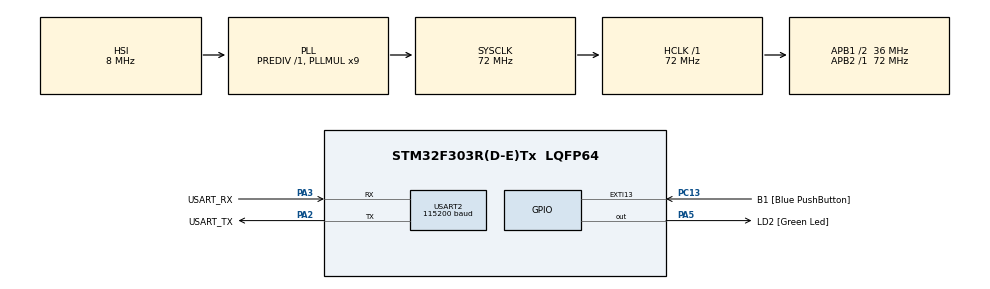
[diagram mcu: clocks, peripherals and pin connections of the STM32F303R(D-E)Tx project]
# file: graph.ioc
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Mcu.Family=STM32F3
Mcu.Name=STM32F303R(D-E)Tx
Mcu.Package=LQFP64
NVIC.PriorityGroup=NVIC_PRIORITYGROUP_0
PA13.GPIO_Label=TMS
PA13.Mode=Serial_Wire
PA13.Signal=SYS_JTMS-SWDIO
PA14.GPIO_Label=TCK
PA14.Mode=Serial_Wire
PA14.Signal=SYS_JTCK-SWCLK
PA2.GPIO_Label=USART_TX
PA2.GPIO_Mode=GPIO_MODE_AF_PP
PA2.GPIO_PuPd=GPIO_NOPULL
PA2.GPIO_Speed=GPIO_SPEED_FREQ_LOW
PA2.Mode=Asynchronous
PA2.Signal=USART2_TX
PA3.GPIO_Label=USART_RX
PA3.GPIO_Mode=GPIO_MODE_AF_PP
PA3.GPIO_PuPd=GPIO_NOPULL
PA3.GPIO_Speed=GPIO_SPEED_FREQ_LOW
PA3.Mode=Asynchronous
PA3.Signal=USART2_RX
PA5.GPIO_Label=LD2 [Green Led]
PA5.GPIO_Mode=GPIO_MODE_OUTPUT_PP
PA5.GPIO_PuPd=GPIO_NOPULL
PA5.GPIO_Speed=GPIO_SPEED_FREQ_LOW
PA5.Signal=GPIO_Output
PB3.GPIO_Label=SWO
PB3.Signal=SYS_JTDO-TRACESWO
PC13.GPIO_Label=B1 [Blue PushButton]
PC13.GPIO_ModeDefaultEXTI=GPIO_MODE_IT_FALLING
PC13.Signal=GPXTI13
PC14-OSC32_IN.Mode=LSE-External-Oscillator
PC14-OSC32_IN.Signal=RCC_OSC32_IN
PC15-OSC32_OUT.Mode=LSE-External-Oscillator
PC15-OSC32_OUT.Signal=RCC_OSC32_OUT
PF0-OSC_IN.Mode=HSE-External-Clock-Source
PF0-OSC_IN.Signal=RCC_OSC_IN
PF1-OSC_OUT.Signal=RCC_OSC_OUT
ProjectManager.HeapSize=0x200
ProjectManager.StackSize=0x400
ProjectManager.TargetToolchain=STM32CubeIDE
RCC.AHBFreq_Value=72000000
RCC.APB1CLKDivider=RCC_HCLK_DIV2
RCC.APB1Freq_Value=36000000
RCC.APB1TimFreq_Value=72000000
RCC.APB2Freq_Value=72000000
RCC.APB2TimFreq_Value=72000000
RCC.CortexFreq_Value=72000000
RCC.HCLKFreq_Value=72000000
RCC.HSE_VALUE=8000000
RCC.HSI_VALUE=8000000
RCC.PLLM=8
RCC.PLLMUL=RCC_PLL_MUL9
RCC.PLLN=336
RCC.PLLP=RCC_PLLP_DIV4
RCC.PLLQ=7
RCC.RCC_PLLsource_Clock_Source_FROM_HSE=RCC_HSE_PREDIV_DIV2
RCC.SYSCLKFreq_VALUE=72000000
RCC.SYSCLKSourceVirtual=RCC_SYSCLKSOURCE_PLLCLK
RCC.USBFreq_Value=72000000
USART2.BaudRate=115200
USART2.VirtualMode-Asynchronous=VM_ASYNC
board=NUCLEO-F303RE

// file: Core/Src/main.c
/* USER CODE BEGIN Header */
/**
  ******************************************************************************
  * @file           : main.c
  * @brief          : Main program body
  ******************************************************************************
  * @attention
  *
  * Copyright (c) 2025 STMicroelectronics.
  * All rights reserved.
  *
  * This software is licensed under terms that can be found in the LICENSE file
  * in the root directory of this software component.
  * If no LICENSE file comes with this software, it is provided AS-IS.
  *
  ******************************************************************************
  */
/* USER CODE END Header */
#include "main.h"

/* USER CODE BEGIN Includes */
#include <string.h>
#include <stdbool.h>
#include <stdint.h>
#include <stdio.h>
/* USER CODE END Includes */

UART_HandleTypeDef huart2;

void SystemClock_Config(void);
static void MX_GPIO_Init(void);
static void MX_USART2_UART_Init(void);
/* USER CODE BEGIN PFP */
void send_msg(char *msg);
/* USER CODE END PFP */

int main(void)
{

  /* MCU Configuration--------------------------------------------------------*/

  /* Reset of all peripherals, Initializes the Flash interface and the Systick. */
  HAL_Init();

  /* Configure the system clock */
  SystemClock_Config();

  /* Initialize all configured peripherals */
  MX_GPIO_Init();
  MX_USART2_UART_Init();
  /* USER CODE BEGIN 2 */
  send_msg("Cheking input voltage...!!! \r\n ");
  HAL_Delay(1000);
  send_msg("Efuse enable pin High. \r\n ");
  HAL_Delay(1000);
  send_msg("cheking efuse O/P voltage. \r\n ");
  HAL_Delay(1000);

  /* USER CODE END 2 */

  /* Infinite loop */
  while (1)
  {

    /* USER CODE BEGIN 3 */
	  uint32_t startTick = HAL_GetTick();
	          while (HAL_GetTick() - startTick < 5000)  // 5000 ms = 5 seconds
	          {
	              // Your 5-second task here
	        	  send_msg("/*4096; 1*/");
	        	  HAL_Delay(100);
	          }

	          send_msg("/*4000; 1*/");
	          HAL_Delay(100);
	          send_msg("/*3500; 0*/");
	          HAL_Delay(100);
	          send_msg("/*2500; 0*/");
	          HAL_Delay(100);
	          send_msg("/*2096; 0*/");
	          HAL_Delay(100);

	          // --- Run for 3 seconds ---
	          startTick = HAL_GetTick();
	          while (HAL_GetTick() - startTick < 3000)  // 3000 ms = 3 seconds
	          {
	              // Your 3-second task here
	        	  send_msg("/*0; 0*/");
	        	  HAL_Delay(100);
	          }

	          break;
  }
  /* USER CODE END 3 */
}

void SystemClock_Config(void)
{
  RCC_OscInitTypeDef RCC_OscInitStruct = {0};
  RCC_ClkInitTypeDef RCC_ClkInitStruct = {0};
  RCC_PeriphCLKInitTypeDef PeriphClkInit = {0};

  /** Initializes the RCC Oscillators according to the specified parameters
  * in the RCC_OscInitTypeDef structure.
  */
  RCC_OscInitStruct.OscillatorType = RCC_OSCILLATORTYPE_HSI;
  RCC_OscInitStruct.HSIState = RCC_HSI_ON;
  RCC_OscInitStruct.HSICalibrationValue = RCC_HSICALIBRATION_DEFAULT;
  RCC_OscInitStruct.PLL.PLLState = RCC_PLL_ON;
  RCC_OscInitStruct.PLL.PLLSource = RCC_PLLSOURCE_HSI;
  RCC_OscInitStruct.PLL.PLLMUL = RCC_PLL_MUL9;
  RCC_OscInitStruct.PLL.PREDIV = RCC_PREDIV_DIV1;
  if (HAL_RCC_OscConfig(&RCC_OscInitStruct) != HAL_OK)
  {
    Error_Handler();
  }

  /** Initializes the CPU, AHB and APB buses clocks
  */
  RCC_ClkInitStruct.ClockType = RCC_CLOCKTYPE_HCLK|RCC_CLOCKTYPE_SYSCLK
                              |RCC_CLOCKTYPE_PCLK1|RCC_CLOCKTYPE_PCLK2;
  RCC_ClkInitStruct.SYSCLKSource = RCC_SYSCLKSOURCE_PLLCLK;
  RCC_ClkInitStruct.AHBCLKDivider = RCC_SYSCLK_DIV1;
  RCC_ClkInitStruct.APB1CLKDivider = RCC_HCLK_DIV2;
  RCC_ClkInitStruct.APB2CLKDivider = RCC_HCLK_DIV1;

  if (HAL_RCC_ClockConfig(&RCC_ClkInitStruct, FLASH_LATENCY_2) != HAL_OK)
  {
    Error_Handler();
  }
  PeriphClkInit.PeriphClockSelection = RCC_PERIPHCLK_USART2;
  PeriphClkInit.Usart2ClockSelection = RCC_USART2CLKSOURCE_PCLK1;
  if (HAL_RCCEx_PeriphCLKConfig(&PeriphClkInit) != HAL_OK)
  {
    Error_Handler();
  }
}

static void MX_USART2_UART_Init(void)
{

  huart2.Instance = USART2;
  huart2.Init.BaudRate = 115200;
  huart2.Init.WordLength = UART_WORDLENGTH_8B;
  huart2.Init.StopBits = UART_STOPBITS_1;
  huart2.Init.Parity = UART_PARITY_NONE;
  huart2.Init.Mode = UART_MODE_TX_RX;
  huart2.Init.HwFlowCtl = UART_HWCONTROL_NONE;
  huart2.Init.OverSampling = UART_OVERSAMPLING_16;
  huart2.Init.OneBitSampling = UART_ONE_BIT_SAMPLE_DISABLE;
  huart2.AdvancedInit.AdvFeatureInit = UART_ADVFEATURE_NO_INIT;
  if (HAL_UART_Init(&huart2) != HAL_OK)
  {
    Error_Handler();
  }

}

static void MX_GPIO_Init(void)
{
  GPIO_InitTypeDef GPIO_InitStruct = {0};

  /* GPIO Ports Clock Enable */
  __HAL_RCC_GPIOC_CLK_ENABLE();
  __HAL_RCC_GPIOF_CLK_ENABLE();
  __HAL_RCC_GPIOA_CLK_ENABLE();
  __HAL_RCC_GPIOB_CLK_ENABLE();

  /*Configure GPIO pin Output Level */
  HAL_GPIO_WritePin(LD2_GPIO_Port, LD2_Pin, GPIO_PIN_RESET);

  /*Configure GPIO pin : B1_Pin */
  GPIO_InitStruct.Pin = B1_Pin;
  GPIO_InitStruct.Mode = GPIO_MODE_IT_FALLING;
  GPIO_InitStruct.Pull = GPIO_NOPULL;
  HAL_GPIO_Init(B1_GPIO_Port, &GPIO_InitStruct);

  /*Configure GPIO pin : LD2_Pin */
  GPIO_InitStruct.Pin = LD2_Pin;
  GPIO_InitStruct.Mode = GPIO_MODE_OUTPUT_PP;
  GPIO_InitStruct.Pull = GPIO_NOPULL;
  GPIO_InitStruct.Speed = GPIO_SPEED_FREQ_LOW;
  HAL_GPIO_Init(LD2_GPIO_Port, &GPIO_InitStruct);

}

/* USER CODE BEGIN 4 */
void send_msg(char *msg){
	HAL_UART_Transmit(&huart2, (uint8_t *)msg, strlen(msg), HAL_MAX_DELAY);
}

/* USER CODE END 4 */

void Error_Handler(void)
{
  __disable_irq();
  while (1)
  {
  }
}
